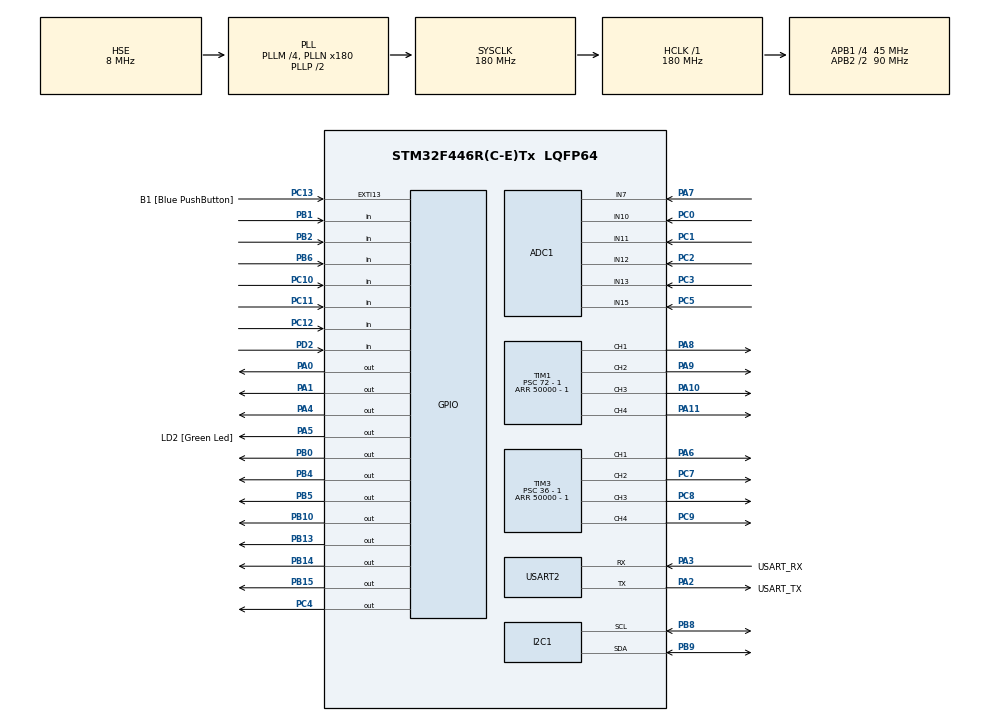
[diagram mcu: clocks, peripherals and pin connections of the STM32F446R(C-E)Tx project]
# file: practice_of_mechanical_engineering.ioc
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ADC1.Channel-10\#ChannelRegularConversion=ADC_CHANNEL_15
ADC1.Channel-5\#ChannelRegularConversion=ADC_CHANNEL_13
ADC1.Channel-6\#ChannelRegularConversion=ADC_CHANNEL_12
ADC1.Channel-7\#ChannelRegularConversion=ADC_CHANNEL_10
ADC1.Channel-8\#ChannelRegularConversion=ADC_CHANNEL_11
ADC1.Channel-9\#ChannelRegularConversion=ADC_CHANNEL_7
ADC1.ClockPrescaler=ADC_CLOCK_SYNC_PCLK_DIV6
ADC1.ContinuousConvMode=DISABLE
ADC1.DMAContinuousRequests=ENABLE
ADC1.EOCSelection=ADC_EOC_SEQ_CONV
ADC1.ExternalTrigConv=ADC_EXTERNALTRIGCONV_T8_TRGO
ADC1.NbrOfConversion=6
ADC1.NbrOfConversionFlag=1
ADC1.Rank-10\#ChannelRegularConversion=6
ADC1.Rank-5\#ChannelRegularConversion=1
ADC1.Rank-6\#ChannelRegularConversion=2
ADC1.Rank-7\#ChannelRegularConversion=3
ADC1.Rank-8\#ChannelRegularConversion=4
ADC1.Rank-9\#ChannelRegularConversion=5
ADC1.SamplingTime-10\#ChannelRegularConversion=ADC_SAMPLETIME_56CYCLES
ADC1.SamplingTime-5\#ChannelRegularConversion=ADC_SAMPLETIME_56CYCLES
ADC1.SamplingTime-6\#ChannelRegularConversion=ADC_SAMPLETIME_56CYCLES
ADC1.SamplingTime-7\#ChannelRegularConversion=ADC_SAMPLETIME_56CYCLES
ADC1.SamplingTime-8\#ChannelRegularConversion=ADC_SAMPLETIME_56CYCLES
ADC1.SamplingTime-9\#ChannelRegularConversion=ADC_SAMPLETIME_56CYCLES
ADC1.ScanConvMode=ENABLE
ADC1.master=1
Dma.ADC1.0.Direction=DMA_PERIPH_TO_MEMORY
Dma.ADC1.0.FIFOMode=DMA_FIFOMODE_DISABLE
Dma.ADC1.0.Instance=DMA2_Stream0
Dma.ADC1.0.MemDataAlignment=DMA_MDATAALIGN_HALFWORD
Dma.ADC1.0.MemInc=DMA_MINC_ENABLE
Dma.ADC1.0.Mode=DMA_CIRCULAR
Dma.ADC1.0.PeriphDataAlignment=DMA_PDATAALIGN_HALFWORD
Dma.ADC1.0.PeriphInc=DMA_PINC_DISABLE
Dma.ADC1.0.Priority=DMA_PRIORITY_LOW
Dma.Request0=ADC1
FREERTOS.Tasks01=feed_dog_task,55,128,start_feed_dog_task,As weak,NULL,Static,feed_dog_task_buffer,feed_dog_task_control_block
FREERTOS.configENABLE_FPU=1
FREERTOS.configUSE_NEWLIB_REENTRANT=1
IWDG.Reload=1600 - 1
Mcu.Family=STM32F4
Mcu.Name=STM32F446R(C-E)Tx
Mcu.Package=LQFP64
NVIC.ADC_IRQn=true\:5\:0\:false\:false\:true\:true\:true\:true\:true
NVIC.DMA2_Stream0_IRQn=true\:5\:0\:false\:false\:true\:true\:false\:true\:true
NVIC.PriorityGroup=NVIC_PRIORITYGROUP_4
NVIC.TIM6_DAC_IRQn=true\:15\:0\:false\:false\:true\:false\:false\:true\:true
NVIC.TimeBase=TIM6_DAC_IRQn
NVIC.TimeBaseIP=TIM6
PA0-WKUP.Signal=GPIO_Output
PA1.Signal=GPIO_Output
PA10.Signal=S_TIM1_CH3
PA11.Signal=S_TIM1_CH4
PA13.GPIO_Label=TMS
PA13.Mode=Serial_Wire
PA13.Signal=SYS_JTMS-SWDIO
PA14.GPIO_Label=TCK
PA14.Mode=Serial_Wire
PA14.Signal=SYS_JTCK-SWCLK
PA2.GPIO_Label=USART_TX
PA2.Mode=Asynchronous
PA2.Signal=USART2_TX
PA3.GPIO_Label=USART_RX
PA3.Mode=Asynchronous
PA3.Signal=USART2_RX
PA4.Signal=GPIO_Output
PA5.GPIO_Label=LD2 [Green Led]
PA5.Signal=GPIO_Output
PA6.Signal=S_TIM3_CH1
PA7.Signal=ADCx_IN7
PA8.Signal=S_TIM1_CH1
PA9.Signal=S_TIM1_CH2
PB0.Signal=GPIO_Output
PB1.GPIO_PuPd=GPIO_PULLDOWN
PB1.Signal=GPIO_Input
PB10.Signal=GPIO_Output
PB13.Signal=GPIO_Output
PB14.Signal=GPIO_Output
PB15.Signal=GPIO_Output
PB2.GPIO_PuPd=GPIO_PULLDOWN
PB2.Signal=GPIO_Input
PB3.GPIO_Label=SWO
PB3.Signal=SYS_JTDO-SWO
PB4.Signal=GPIO_Output
PB5.Signal=GPIO_Output
PB6.GPIO_PuPd=GPIO_PULLDOWN
PB6.Signal=GPIO_Input
PB8.Mode=I2C
PB8.Signal=I2C1_SCL
PB9.Mode=I2C
PB9.Signal=I2C1_SDA
PC0.Signal=ADCx_IN10
PC1.Signal=ADCx_IN11
PC10.GPIO_PuPd=GPIO_PULLDOWN
PC10.Signal=GPIO_Input
PC11.GPIO_PuPd=GPIO_PULLDOWN
PC11.Signal=GPIO_Input
PC12.GPIO_PuPd=GPIO_PULLDOWN
PC12.Signal=GPIO_Input
PC13.GPIO_Label=B1 [Blue PushButton]
PC13.GPIO_ModeDefaultEXTI=GPIO_MODE_IT_FALLING
PC13.Signal=GPXTI13
PC14-OSC32_IN.Mode=LSE-External-Oscillator
PC14-OSC32_IN.Signal=RCC_OSC32_IN
PC15-OSC32_OUT.Mode=LSE-External-Oscillator
PC15-OSC32_OUT.Signal=RCC_OSC32_OUT
PC2.Signal=ADCx_IN12
PC3.Signal=ADCx_IN13
PC4.Signal=GPIO_Output
PC5.Signal=ADCx_IN15
PC7.Signal=S_TIM3_CH2
PC8.Signal=S_TIM3_CH3
PC9.Signal=S_TIM3_CH4
PD2.Signal=GPIO_Input
PH0-OSC_IN.Mode=HSE-External-Clock-Source
PH0-OSC_IN.Signal=RCC_OSC_IN
PH1-OSC_OUT.Mode=HSE-External-Clock-Source
PH1-OSC_OUT.Signal=RCC_OSC_OUT
ProjectManager.HeapSize=0x200
ProjectManager.StackSize=0x400
ProjectManager.TargetToolchain=STM32CubeIDE
RCC.48MHZClocksFreq_Value=84000000
RCC.AHBFreq_Value=180000000
RCC.APB1CLKDivider=RCC_HCLK_DIV4
RCC.APB1Freq_Value=45000000
RCC.APB1TimFreq_Value=90000000
RCC.APB2CLKDivider=RCC_HCLK_DIV2
RCC.APB2Freq_Value=90000000
RCC.APB2TimFreq_Value=180000000
RCC.CortexFreq_Value=180000000
RCC.FLatency-AdvancedSettings=FLASH_LATENCY_5
RCC.HCLKFreq_Value=180000000
RCC.HSE_VALUE=8000000
RCC.HSI_VALUE=16000000
RCC.PLLM=4
RCC.PLLN=180
RCC.PLLSourceVirtual=RCC_PLLSOURCE_HSE
RCC.SYSCLKFreq_VALUE=180000000
RCC.SYSCLKSource=RCC_SYSCLKSOURCE_PLLCLK
RCC.USBFreq_Value=180000000
RCC.VCOOutputFreq_Value=360000000
SH.ADCx_IN10.0=ADC1_IN10,IN10
SH.ADCx_IN11.0=ADC1_IN11,IN11
SH.ADCx_IN12.0=ADC1_IN12,IN12
SH.ADCx_IN13.0=ADC1_IN13,IN13
SH.ADCx_IN15.0=ADC1_IN15,IN15
SH.ADCx_IN7.0=ADC1_IN7,IN7
SH.S_TIM1_CH1.0=TIM1_CH1,PWM Generation1 CH1
SH.S_TIM1_CH2.0=TIM1_CH2,PWM Generation2 CH2
SH.S_TIM1_CH3.0=TIM1_CH3,PWM Generation3 CH3
SH.S_TIM1_CH4.0=TIM1_CH4,PWM Generation4 CH4
SH.S_TIM3_CH1.0=TIM3_CH1,PWM Generation1 CH1
SH.S_TIM3_CH2.0=TIM3_CH2,PWM Generation2 CH2
SH.S_TIM3_CH3.0=TIM3_CH3,PWM Generation3 CH3
SH.S_TIM3_CH4.0=TIM3_CH4,PWM Generation4 CH4
TIM1.Channel-PWM\ Generation1\ CH1=TIM_CHANNEL_1
TIM1.Channel-PWM\ Generation2\ CH2=TIM_CHANNEL_2
TIM1.Channel-PWM\ Generation3\ CH3=TIM_CHANNEL_3
TIM1.Channel-PWM\ Generation4\ CH4=TIM_CHANNEL_4
TIM1.Period=50000 - 1
TIM1.Prescaler=72 - 1
TIM3.Channel-PWM\ Generation1\ CH1=TIM_CHANNEL_1
TIM3.Channel-PWM\ Generation2\ CH2=TIM_CHANNEL_2
TIM3.Channel-PWM\ Generation3\ CH3=TIM_CHANNEL_3
TIM3.Channel-PWM\ Generation4\ CH4=TIM_CHANNEL_4
TIM3.Period=50000 - 1
TIM3.Prescaler=36 - 1
TIM8.Channel-PWM\ Generation1\ No\ Output=TIM_CHANNEL_1
TIM8.Period=50000 - 1
TIM8.Prescaler=36 - 1
TIM8.Pulse-PWM\ Generation1\ No\ Output=25000 - 1
TIM8.TIM_MasterOutputTrigger=TIM_TRGO_UPDATE
USART2.VirtualMode=VM_ASYNC
VP_FREERTOS_VS_CMSIS_V2.Mode=CMSIS_V2
VP_IWDG_VS_IWDG.Mode=IWDG_Activate
VP_SYS_VS_tim6.Mode=TIM6
VP_TIM1_VS_ClockSourceINT.Mode=Internal
VP_TIM3_VS_ClockSourceINT.Mode=Internal
VP_TIM8_VS_ClockSourceINT.Mode=Internal
VP_TIM8_VS_no_output1.Mode=PWM Generation1 No Output
board=NUCLEO-F446RE

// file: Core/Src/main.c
/* USER CODE BEGIN Header */
/**
 ******************************************************************************
 * @file           : main.c
 * @brief          : Main program body
 ******************************************************************************
 * @attention
 *
 * Copyright (c) 2023 STMicroelectronics.
 * All rights reserved.
 *
 * This software is licensed under terms that can be found in the LICENSE file
 * in the root directory of this software component.
 * If no LICENSE file comes with this software, it is provided AS-IS.
 *
 ******************************************************************************
 */
/* USER CODE END Header */
#include "main.h"

#include "cmsis_os.h"

/* USER CODE BEGIN Includes */
#include "project_def.h"
#include "user_main.h"
/* USER CODE END Includes */

typedef StaticTask_t osStaticThreadDef_t;

ADC_HandleTypeDef hadc1;
DMA_HandleTypeDef hdma_adc1;

I2C_HandleTypeDef hi2c1;

IWDG_HandleTypeDef hiwdg;

TIM_HandleTypeDef htim1;
TIM_HandleTypeDef htim3;
TIM_HandleTypeDef htim8;

UART_HandleTypeDef huart2;

/* Definitions for feed_dog_task */
osThreadId_t feed_dog_taskHandle;
uint32_t feed_dog_task_buffer[128];
osStaticThreadDef_t feed_dog_task_control_block;
const osThreadAttr_t feed_dog_task_attributes = {
    .name = "feed_dog_task",
    .cb_mem = &feed_dog_task_control_block,
    .cb_size = sizeof(feed_dog_task_control_block),
    .stack_mem = &feed_dog_task_buffer[0],
    .stack_size = sizeof(feed_dog_task_buffer),
    .priority = (osPriority_t)osPriorityRealtime7,
};

void SystemClock_Config(void);
static void MX_GPIO_Init(void);
static void MX_DMA_Init(void);
static void MX_USART2_UART_Init(void);
static void MX_IWDG_Init(void);
static void MX_TIM3_Init(void);
static void MX_ADC1_Init(void);
static void MX_TIM8_Init(void);
static void MX_TIM1_Init(void);
static void MX_I2C1_Init(void);
void start_feed_dog_task(void *argument);

int main(void) {

  /* MCU Configuration--------------------------------------------------------*/

  /* Reset of all peripherals, Initializes the Flash interface and the Systick.
   */
  HAL_Init();

  /* Configure the system clock */
  SystemClock_Config();

  /* Initialize all configured peripherals */
  MX_GPIO_Init();
  MX_DMA_Init();
  MX_USART2_UART_Init();
  MX_IWDG_Init();
  MX_TIM3_Init();
  MX_ADC1_Init();
  MX_TIM8_Init();
  MX_TIM1_Init();
  MX_I2C1_Init();
  /* USER CODE BEGIN 2 */
  user_init();
  /* USER CODE END 2 */

  /* Init scheduler */
  osKernelInitialize();

  /* Create the thread(s) */
  /* creation of feed_dog_task */
  feed_dog_taskHandle =
      osThreadNew(start_feed_dog_task, NULL, &feed_dog_task_attributes);

  /* Start scheduler */
  osKernelStart();

  /* We should never get here as control is now taken by the scheduler */
  /* Infinite loop */
  while (1) {

  }
}

void SystemClock_Config(void) {
  RCC_OscInitTypeDef RCC_OscInitStruct = {0};
  RCC_ClkInitTypeDef RCC_ClkInitStruct = {0};

  /** Configure the main internal regulator output voltage
   */
  __HAL_RCC_PWR_CLK_ENABLE();
  __HAL_PWR_VOLTAGESCALING_CONFIG(PWR_REGULATOR_VOLTAGE_SCALE1);

  /** Initializes the RCC Oscillators according to the specified parameters
   * in the RCC_OscInitTypeDef structure.
   */
  RCC_OscInitStruct.OscillatorType =
      RCC_OSCILLATORTYPE_LSI | RCC_OSCILLATORTYPE_HSE;
  RCC_OscInitStruct.HSEState = RCC_HSE_BYPASS;
  RCC_OscInitStruct.LSIState = RCC_LSI_ON;
  RCC_OscInitStruct.PLL.PLLState = RCC_PLL_ON;
  RCC_OscInitStruct.PLL.PLLSource = RCC_PLLSOURCE_HSE;
  RCC_OscInitStruct.PLL.PLLM = 4;
  RCC_OscInitStruct.PLL.PLLN = 180;
  RCC_OscInitStruct.PLL.PLLP = RCC_PLLP_DIV2;
  RCC_OscInitStruct.PLL.PLLQ = 2;
  RCC_OscInitStruct.PLL.PLLR = 2;
  if (HAL_RCC_OscConfig(&RCC_OscInitStruct) != HAL_OK) {
    Error_Handler();
  }

  /** Activate the Over-Drive mode
   */
  if (HAL_PWREx_EnableOverDrive() != HAL_OK) {
    Error_Handler();
  }

  /** Initializes the CPU, AHB and APB buses clocks
   */
  RCC_ClkInitStruct.ClockType = RCC_CLOCKTYPE_HCLK | RCC_CLOCKTYPE_SYSCLK |
                                RCC_CLOCKTYPE_PCLK1 | RCC_CLOCKTYPE_PCLK2;
  RCC_ClkInitStruct.SYSCLKSource = RCC_SYSCLKSOURCE_PLLCLK;
  RCC_ClkInitStruct.AHBCLKDivider = RCC_SYSCLK_DIV1;
  RCC_ClkInitStruct.APB1CLKDivider = RCC_HCLK_DIV4;
  RCC_ClkInitStruct.APB2CLKDivider = RCC_HCLK_DIV2;

  if (HAL_RCC_ClockConfig(&RCC_ClkInitStruct, FLASH_LATENCY_5) != HAL_OK) {
    Error_Handler();
  }
}

static void MX_ADC1_Init(void) {

  ADC_ChannelConfTypeDef sConfig = {0};

  /** Configure the global features of the ADC (Clock, Resolution, Data
   * Alignment and number of conversion)
   */
  hadc1.Instance = ADC1;
  hadc1.Init.ClockPrescaler = ADC_CLOCK_SYNC_PCLK_DIV6;
  hadc1.Init.Resolution = ADC_RESOLUTION_12B;
  hadc1.Init.ScanConvMode = ENABLE;
  hadc1.Init.ContinuousConvMode = DISABLE;
  hadc1.Init.DiscontinuousConvMode = DISABLE;
  hadc1.Init.ExternalTrigConvEdge = ADC_EXTERNALTRIGCONVEDGE_RISING;
  hadc1.Init.ExternalTrigConv = ADC_EXTERNALTRIGCONV_T8_TRGO;
  hadc1.Init.DataAlign = ADC_DATAALIGN_RIGHT;
  hadc1.Init.NbrOfConversion = 6;
  hadc1.Init.DMAContinuousRequests = ENABLE;
  hadc1.Init.EOCSelection = ADC_EOC_SEQ_CONV;
  if (HAL_ADC_Init(&hadc1) != HAL_OK) {
    Error_Handler();
  }

  /** Configure for the selected ADC regular channel its corresponding rank in
   * the sequencer and its sample time.
   */
  sConfig.Channel = ADC_CHANNEL_13;
  sConfig.Rank = 1;
  sConfig.SamplingTime = ADC_SAMPLETIME_56CYCLES;
  if (HAL_ADC_ConfigChannel(&hadc1, &sConfig) != HAL_OK) {
    Error_Handler();
  }

  /** Configure for the selected ADC regular channel its corresponding rank in
   * the sequencer and its sample time.
   */
  sConfig.Channel = ADC_CHANNEL_12;
  sConfig.Rank = 2;
  if (HAL_ADC_ConfigChannel(&hadc1, &sConfig) != HAL_OK) {
    Error_Handler();
  }

  /** Configure for the selected ADC regular channel its corresponding rank in
   * the sequencer and its sample time.
   */
  sConfig.Channel = ADC_CHANNEL_10;
  sConfig.Rank = 3;
  if (HAL_ADC_ConfigChannel(&hadc1, &sConfig) != HAL_OK) {
    Error_Handler();
  }

  /** Configure for the selected ADC regular channel its corresponding rank in
   * the sequencer and its sample time.
   */
  sConfig.Channel = ADC_CHANNEL_11;
  sConfig.Rank = 4;
  if (HAL_ADC_ConfigChannel(&hadc1, &sConfig) != HAL_OK) {
    Error_Handler();
  }

  /** Configure for the selected ADC regular channel its corresponding rank in
   * the sequencer and its sample time.
   */
  sConfig.Channel = ADC_CHANNEL_7;
  sConfig.Rank = 5;
  if (HAL_ADC_ConfigChannel(&hadc1, &sConfig) != HAL_OK) {
    Error_Handler();
  }

  /** Configure for the selected ADC regular channel its corresponding rank in
   * the sequencer and its sample time.
   */
  sConfig.Channel = ADC_CHANNEL_15;
  sConfig.Rank = 6;
  if (HAL_ADC_ConfigChannel(&hadc1, &sConfig) != HAL_OK) {
    Error_Handler();
  }
}

static void MX_I2C1_Init(void) {

  hi2c1.Instance = I2C1;
  hi2c1.Init.ClockSpeed = 100000;
  hi2c1.Init.DutyCycle = I2C_DUTYCYCLE_2;
  hi2c1.Init.OwnAddress1 = 0;
  hi2c1.Init.AddressingMode = I2C_ADDRESSINGMODE_7BIT;
  hi2c1.Init.DualAddressMode = I2C_DUALADDRESS_DISABLE;
  hi2c1.Init.OwnAddress2 = 0;
  hi2c1.Init.GeneralCallMode = I2C_GENERALCALL_DISABLE;
  hi2c1.Init.NoStretchMode = I2C_NOSTRETCH_DISABLE;
  if (HAL_I2C_Init(&hi2c1) != HAL_OK) {
    Error_Handler();
  }
}

static void MX_IWDG_Init(void) {

  /* USER CODE BEGIN IWDG_Init 1 */
#ifdef ENABLE_WATCH_DOG
  /* USER CODE END IWDG_Init 1 */
  hiwdg.Instance = IWDG;
  hiwdg.Init.Prescaler = IWDG_PRESCALER_4;
  hiwdg.Init.Reload = 1600 - 1;
  if (HAL_IWDG_Init(&hiwdg) != HAL_OK) {
    Error_Handler();
  }
  /* USER CODE BEGIN IWDG_Init 2 */
#endif  // ENABLE_WATCH_DOG
  /* USER CODE END IWDG_Init 2 */
}

static void MX_TIM1_Init(void) {

  TIM_ClockConfigTypeDef sClockSourceConfig = {0};
  TIM_MasterConfigTypeDef sMasterConfig = {0};
  TIM_OC_InitTypeDef sConfigOC = {0};
  TIM_BreakDeadTimeConfigTypeDef sBreakDeadTimeConfig = {0};

  htim1.Instance = TIM1;
  htim1.Init.Prescaler = 72 - 1;
  htim1.Init.CounterMode = TIM_COUNTERMODE_UP;
  htim1.Init.Period = 50000 - 1;
  htim1.Init.ClockDivision = TIM_CLOCKDIVISION_DIV1;
  htim1.Init.RepetitionCounter = 0;
  htim1.Init.AutoReloadPreload = TIM_AUTORELOAD_PRELOAD_DISABLE;
  if (HAL_TIM_Base_Init(&htim1) != HAL_OK) {
    Error_Handler();
  }
  sClockSourceConfig.ClockSource = TIM_CLOCKSOURCE_INTERNAL;
  if (HAL_TIM_ConfigClockSource(&htim1, &sClockSourceConfig) != HAL_OK) {
    Error_Handler();
  }
  if (HAL_TIM_PWM_Init(&htim1) != HAL_OK) {
    Error_Handler();
  }
  sMasterConfig.MasterOutputTrigger = TIM_TRGO_RESET;
  sMasterConfig.MasterSlaveMode = TIM_MASTERSLAVEMODE_DISABLE;
  if (HAL_TIMEx_MasterConfigSynchronization(&htim1, &sMasterConfig) != HAL_OK) {
    Error_Handler();
  }
  sConfigOC.OCMode = TIM_OCMODE_PWM1;
  sConfigOC.Pulse = 0;
  sConfigOC.OCPolarity = TIM_OCPOLARITY_HIGH;
  sConfigOC.OCNPolarity = TIM_OCNPOLARITY_HIGH;
  sConfigOC.OCFastMode = TIM_OCFAST_DISABLE;
  sConfigOC.OCIdleState = TIM_OCIDLESTATE_RESET;
  sConfigOC.OCNIdleState = TIM_OCNIDLESTATE_RESET;
  if (HAL_TIM_PWM_ConfigChannel(&htim1, &sConfigOC, TIM_CHANNEL_1) != HAL_OK) {
    Error_Handler();
  }
  if (HAL_TIM_PWM_ConfigChannel(&htim1, &sConfigOC, TIM_CHANNEL_2) != HAL_OK) {
    Error_Handler();
  }
  if (HAL_TIM_PWM_ConfigChannel(&htim1, &sConfigOC, TIM_CHANNEL_3) != HAL_OK) {
    Error_Handler();
  }
  if (HAL_TIM_PWM_ConfigChannel(&htim1, &sConfigOC, TIM_CHANNEL_4) != HAL_OK) {
    Error_Handler();
  }
  sBreakDeadTimeConfig.OffStateRunMode = TIM_OSSR_DISABLE;
  sBreakDeadTimeConfig.OffStateIDLEMode = TIM_OSSI_DISABLE;
  sBreakDeadTimeConfig.LockLevel = TIM_LOCKLEVEL_OFF;
  sBreakDeadTimeConfig.DeadTime = 0;
  sBreakDeadTimeConfig.BreakState = TIM_BREAK_DISABLE;
  sBreakDeadTimeConfig.BreakPolarity = TIM_BREAKPOLARITY_HIGH;
  sBreakDeadTimeConfig.AutomaticOutput = TIM_AUTOMATICOUTPUT_DISABLE;
  if (HAL_TIMEx_ConfigBreakDeadTime(&htim1, &sBreakDeadTimeConfig) != HAL_OK) {
    Error_Handler();
  }
  HAL_TIM_MspPostInit(&htim1);
}

static void MX_TIM3_Init(void) {

  TIM_ClockConfigTypeDef sClockSourceConfig = {0};
  TIM_MasterConfigTypeDef sMasterConfig = {0};
  TIM_OC_InitTypeDef sConfigOC = {0};

  htim3.Instance = TIM3;
  htim3.Init.Prescaler = 36 - 1;
  htim3.Init.CounterMode = TIM_COUNTERMODE_UP;
  htim3.Init.Period = 50000 - 1;
  htim3.Init.ClockDivision = TIM_CLOCKDIVISION_DIV1;
  htim3.Init.AutoReloadPreload = TIM_AUTORELOAD_PRELOAD_DISABLE;
  if (HAL_TIM_Base_Init(&htim3) != HAL_OK) {
    Error_Handler();
  }
  sClockSourceConfig.ClockSource = TIM_CLOCKSOURCE_INTERNAL;
  if (HAL_TIM_ConfigClockSource(&htim3, &sClockSourceConfig) != HAL_OK) {
    Error_Handler();
  }
  if (HAL_TIM_PWM_Init(&htim3) != HAL_OK) {
    Error_Handler();
  }
  sMasterConfig.MasterOutputTrigger = TIM_TRGO_RESET;
  sMasterConfig.MasterSlaveMode = TIM_MASTERSLAVEMODE_DISABLE;
  if (HAL_TIMEx_MasterConfigSynchronization(&htim3, &sMasterConfig) != HAL_OK) {
    Error_Handler();
  }
  sConfigOC.OCMode = TIM_OCMODE_PWM1;
  sConfigOC.Pulse = 0;
  sConfigOC.OCPolarity = TIM_OCPOLARITY_HIGH;
  sConfigOC.OCFastMode = TIM_OCFAST_DISABLE;
  if (HAL_TIM_PWM_ConfigChannel(&htim3, &sConfigOC, TIM_CHANNEL_1) != HAL_OK) {
    Error_Handler();
  }
  if (HAL_TIM_PWM_ConfigChannel(&htim3, &sConfigOC, TIM_CHANNEL_2) != HAL_OK) {
    Error_Handler();
  }
  if (HAL_TIM_PWM_ConfigChannel(&htim3, &sConfigOC, TIM_CHANNEL_3) != HAL_OK) {
    Error_Handler();
  }
  if (HAL_TIM_PWM_ConfigChannel(&htim3, &sConfigOC, TIM_CHANNEL_4) != HAL_OK) {
    Error_Handler();
  }
  HAL_TIM_MspPostInit(&htim3);
}

static void MX_TIM8_Init(void) {

  TIM_ClockConfigTypeDef sClockSourceConfig = {0};
  TIM_MasterConfigTypeDef sMasterConfig = {0};
  TIM_OC_InitTypeDef sConfigOC = {0};
  TIM_BreakDeadTimeConfigTypeDef sBreakDeadTimeConfig = {0};

  htim8.Instance = TIM8;
  htim8.Init.Prescaler = 36 - 1;
  htim8.Init.CounterMode = TIM_COUNTERMODE_UP;
  htim8.Init.Period = 50000 - 1;
  htim8.Init.ClockDivision = TIM_CLOCKDIVISION_DIV1;
  htim8.Init.RepetitionCounter = 0;
  htim8.Init.AutoReloadPreload = TIM_AUTORELOAD_PRELOAD_DISABLE;
  if (HAL_TIM_Base_Init(&htim8) != HAL_OK) {
    Error_Handler();
  }
  sClockSourceConfig.ClockSource = TIM_CLOCKSOURCE_INTERNAL;
  if (HAL_TIM_ConfigClockSource(&htim8, &sClockSourceConfig) != HAL_OK) {
    Error_Handler();
  }
  if (HAL_TIM_PWM_Init(&htim8) != HAL_OK) {
    Error_Handler();
  }
  sMasterConfig.MasterOutputTrigger = TIM_TRGO_UPDATE;
  sMasterConfig.MasterSlaveMode = TIM_MASTERSLAVEMODE_DISABLE;
  if (HAL_TIMEx_MasterConfigSynchronization(&htim8, &sMasterConfig) != HAL_OK) {
    Error_Handler();
  }
  sConfigOC.OCMode = TIM_OCMODE_PWM1;
  sConfigOC.Pulse = 25000 - 1;
  sConfigOC.OCPolarity = TIM_OCPOLARITY_HIGH;
  sConfigOC.OCNPolarity = TIM_OCNPOLARITY_HIGH;
  sConfigOC.OCFastMode = TIM_OCFAST_DISABLE;
  sConfigOC.OCIdleState = TIM_OCIDLESTATE_RESET;
  sConfigOC.OCNIdleState = TIM_OCNIDLESTATE_RESET;
  if (HAL_TIM_PWM_ConfigChannel(&htim8, &sConfigOC, TIM_CHANNEL_1) != HAL_OK) {
    Error_Handler();
  }
  sBreakDeadTimeConfig.OffStateRunMode = TIM_OSSR_DISABLE;
  sBreakDeadTimeConfig.OffStateIDLEMode = TIM_OSSI_DISABLE;
  sBreakDeadTimeConfig.LockLevel = TIM_LOCKLEVEL_OFF;
  sBreakDeadTimeConfig.DeadTime = 0;
  sBreakDeadTimeConfig.BreakState = TIM_BREAK_DISABLE;
  sBreakDeadTimeConfig.BreakPolarity = TIM_BREAKPOLARITY_HIGH;
  sBreakDeadTimeConfig.AutomaticOutput = TIM_AUTOMATICOUTPUT_DISABLE;
  if (HAL_TIMEx_ConfigBreakDeadTime(&htim8, &sBreakDeadTimeConfig) != HAL_OK) {
    Error_Handler();
  }
}

static void MX_USART2_UART_Init(void) {

  huart2.Instance = USART2;
  huart2.Init.BaudRate = 115200;
  huart2.Init.WordLength = UART_WORDLENGTH_8B;
  huart2.Init.StopBits = UART_STOPBITS_1;
  huart2.Init.Parity = UART_PARITY_NONE;
  huart2.Init.Mode = UART_MODE_TX_RX;
  huart2.Init.HwFlowCtl = UART_HWCONTROL_NONE;
  huart2.Init.OverSampling = UART_OVERSAMPLING_16;
  if (HAL_UART_Init(&huart2) != HAL_OK) {
    Error_Handler();
  }
}

static void MX_DMA_Init(void) {
  /* DMA controller clock enable */
  __HAL_RCC_DMA2_CLK_ENABLE();

  /* DMA interrupt init */
  /* DMA2_Stream0_IRQn interrupt configuration */
  HAL_NVIC_SetPriority(DMA2_Stream0_IRQn, 5, 0);
  HAL_NVIC_EnableIRQ(DMA2_Stream0_IRQn);
}

static void MX_GPIO_Init(void) {
  GPIO_InitTypeDef GPIO_InitStruct = {0};

  /* GPIO Ports Clock Enable */
  __HAL_RCC_GPIOC_CLK_ENABLE();
  __HAL_RCC_GPIOH_CLK_ENABLE();
  __HAL_RCC_GPIOA_CLK_ENABLE();
  __HAL_RCC_GPIOB_CLK_ENABLE();
  __HAL_RCC_GPIOD_CLK_ENABLE();

  /*Configure GPIO pin Output Level */
  HAL_GPIO_WritePin(GPIOA, GPIO_PIN_0 | GPIO_PIN_1 | GPIO_PIN_4 | LD2_Pin,
                    GPIO_PIN_RESET);

  /*Configure GPIO pin Output Level */
  HAL_GPIO_WritePin(GPIOC, GPIO_PIN_4, GPIO_PIN_RESET);

  /*Configure GPIO pin Output Level */
  HAL_GPIO_WritePin(GPIOB,
                    GPIO_PIN_0 | GPIO_PIN_10 | GPIO_PIN_13 | GPIO_PIN_14 |
                        GPIO_PIN_15 | GPIO_PIN_4 | GPIO_PIN_5,
                    GPIO_PIN_RESET);

  /*Configure GPIO pin : B1_Pin */
  GPIO_InitStruct.Pin = B1_Pin;
  GPIO_InitStruct.Mode = GPIO_MODE_IT_FALLING;
  GPIO_InitStruct.Pull = GPIO_NOPULL;
  HAL_GPIO_Init(B1_GPIO_Port, &GPIO_InitStruct);

  /*Configure GPIO pins : PA0 PA1 PA4 LD2_Pin */
  GPIO_InitStruct.Pin = GPIO_PIN_0 | GPIO_PIN_1 | GPIO_PIN_4 | LD2_Pin;
  GPIO_InitStruct.Mode = GPIO_MODE_OUTPUT_PP;
  GPIO_InitStruct.Pull = GPIO_NOPULL;
  GPIO_InitStruct.Speed = GPIO_SPEED_FREQ_LOW;
  HAL_GPIO_Init(GPIOA, &GPIO_InitStruct);

  /*Configure GPIO pin : PC4 */
  GPIO_InitStruct.Pin = GPIO_PIN_4;
  GPIO_InitStruct.Mode = GPIO_MODE_OUTPUT_PP;
  GPIO_InitStruct.Pull = GPIO_NOPULL;
  GPIO_InitStruct.Speed = GPIO_SPEED_FREQ_LOW;
  HAL_GPIO_Init(GPIOC, &GPIO_InitStruct);

  /*Configure GPIO pins : PB0 PB10 PB13 PB14
                           PB15 PB4 PB5 */
  GPIO_InitStruct.Pin = GPIO_PIN_0 | GPIO_PIN_10 | GPIO_PIN_13 | GPIO_PIN_14 |
                        GPIO_PIN_15 | GPIO_PIN_4 | GPIO_PIN_5;
  GPIO_InitStruct.Mode = GPIO_MODE_OUTPUT_PP;
  GPIO_InitStruct.Pull = GPIO_NOPULL;
  GPIO_InitStruct.Speed = GPIO_SPEED_FREQ_LOW;
  HAL_GPIO_Init(GPIOB, &GPIO_InitStruct);

  /*Configure GPIO pins : PB1 PB2 PB6 */
  GPIO_InitStruct.Pin = GPIO_PIN_1 | GPIO_PIN_2 | GPIO_PIN_6;
  GPIO_InitStruct.Mode = GPIO_MODE_INPUT;
  GPIO_InitStruct.Pull = GPIO_PULLDOWN;
  HAL_GPIO_Init(GPIOB, &GPIO_InitStruct);

  /*Configure GPIO pins : PC10 PC11 PC12 */
  GPIO_InitStruct.Pin = GPIO_PIN_10 | GPIO_PIN_11 | GPIO_PIN_12;
  GPIO_InitStruct.Mode = GPIO_MODE_INPUT;
  GPIO_InitStruct.Pull = GPIO_PULLDOWN;
  HAL_GPIO_Init(GPIOC, &GPIO_InitStruct);

  /*Configure GPIO pin : PD2 */
  GPIO_InitStruct.Pin = GPIO_PIN_2;
  GPIO_InitStruct.Mode = GPIO_MODE_INPUT;
  GPIO_InitStruct.Pull = GPIO_NOPULL;
  HAL_GPIO_Init(GPIOD, &GPIO_InitStruct);
}

__weak void start_feed_dog_task(void *argument) {
  /* USER CODE BEGIN 5 */
  /* Infinite loop */
  while (1) {
#ifdef ENABLE_WATCH_DOG
    HAL_IWDG_Refresh(&hiwdg);
#endif  // ENABLE_WATCH_DOG
    osDelay(100);
  }

  /* USER CODE END 5 */
}

void HAL_TIM_PeriodElapsedCallback(TIM_HandleTypeDef *htim) {
  if (htim->Instance == TIM6) {
    HAL_IncTick();
  }
}

void Error_Handler(void) {
  /* USER CODE BEGIN Error_Handler_Debug */
  /* User can add his own implementation to report the HAL error return state */
  __disable_irq();
  HAL_GPIO_WritePin(LD2_GPIO_Port, LD2_Pin, GPIO_PIN_SET);
  HAL_GPIO_WritePin(LED_GREEN_PORT, LED_GREEN_PIN, GPIO_PIN_SET);
  HAL_GPIO_WritePin(LED_YELLOW_PORT, LED_YELLOW_PIN, GPIO_PIN_SET);
  HAL_GPIO_WritePin(LED_RED_PORT, LED_RED_PIN, GPIO_PIN_SET);
  while (1) {
  }
  /* USER CODE END Error_Handler_Debug */
}

#ifdef USE_FULL_ASSERT
/**
 * @brief  Reports the name of the source file and the source line number
 *         where the assert_param error has occurred.
 * @param  file: pointer to the source file name
 * @param  line: assert_param error line source number
 * @retval None
 */
void assert_failed(uint8_t *file, uint32_t line) {
  /* USER CODE BEGIN 6 */
  /* User can add his own implementation to report the file name and line
     number, ex: printf("Wrong parameters value: file %s on line %d\r\n", file,
     line) */
  /* USER CODE END 6 */
}
#endif /* USE_FULL_ASSERT */
